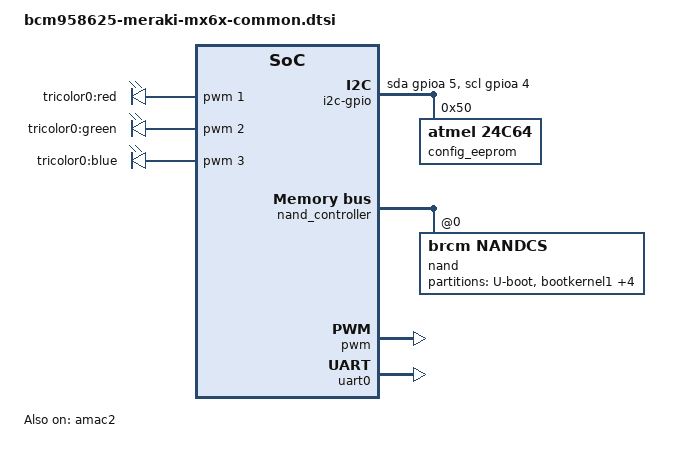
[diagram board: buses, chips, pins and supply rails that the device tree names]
// SPDX-License-Identifier: GPL-2.0-or-later OR MIT
/*
 * Common Bindings for Cisco Meraki MX64 (Kingpin) and MX65 (Alamo) devices.
 *
 * Copyright (C) 2020-2021 Matthew Hagan <mnhagan88@gmail.com>
 */

#include "bcm-nsp.dtsi"
#include <dt-bindings/gpio/gpio.h>
#include <dt-bindings/input/input.h>
#include <dt-bindings/leds/common.h>

/ {
	
	aliases {
        serial0 = &uart0;
    };

    chosen {
        stdout-path = "serial0:115200n8";
    };

	pwm-leds {
        compatible = "pwm-leds";
        red {
            label = "tricolor0:red";
            pwms = <&pwm 1 50000>;
            default-state = "off";
        };
        green {
            label = "tricolor0:green";
            pwms = <&pwm 2 50000>;
            default-state = "off";
        };
        blue {
            label = "tricolor0:blue";
            pwms = <&pwm 3 50000>;
            default-state = "off";
        };
	};

    i2c-gpio {
        #address-cells = <1>;
        #size-cells = <0>;
        compatible = "i2c-gpio";
        gpios = <&gpioa 5 0 /* sda  */
                 &gpioa 4 0>; /* scl  */
        i2c-gpio,delay-us = <10>;   /* ~100 kHz  */

        config_eeprom: at24@50 {
            compatible = "atmel,24c64";
            pagesize = <32>;
            reg = <0x50>;
        };

    };

    board-data {
        compatible = "meraki,meraki-config";
        i2c-eeprom = <&config_eeprom>;
    };
};

	&amac2 {
		status = "okay";
		mac-address = [ 00 18 0A 00 01 02 ];
	};


    &nand_controller {
	    nand@0 {
		    compatible = "brcm,nandcs";
		    reg = <0>;
		    nand-on-flash-bbt;

		    #address-cells = <1>;
		    #size-cells = <1>;

		    nand-ecc-strength = <24>;
		    nand-ecc-step-size = <1024>;

		    brcm,nand-oob-sector-size = <27>;

            partitions {
                compatible = "fixed-partitions";
                #address-cells = <1>;
                #size-cells = <1>;

                partition@0 {
                    label = "U-boot";
                   reg = <0x0 0x200000>;
                };

                partition@1 {
                    label = "bootkernel1";
                    reg = <0x100000 0x300000>;
                };

                partition@2 {
                    label = "senao_nvram";
                    reg = <0x400000 0x100000>;
                };

                partition@3 {
                    label = "bootkernel2";
                    reg = <0x500000 0x300000>;
                };

                partition@4 {
                    label = "ubi";
                    reg = <0x800000 0x3f700000>;
                };

                partition@5 {
                   label = "all";
                    reg = <0x0 0x3ff00000>;
                };
            };

	    };
    };


    &pinctrl {
    	pinctrl-names = "default";
    	pinctrl-0 = <&pwm_leds>;

	    pwm_leds: pwm_leds {
	    	function = "pwm";
	    	groups = "pwm1_grp", "pwm2_grp", "pwm3_grp";
	    };
    };

	&pwm {
        status = "okay";
        #pwm-cells = <2>;
        chan0 {
            channel = <1>;
            active_low = <1>;
        };
        chan1 {
            channel = <2>;
            active_low = <1>;
        };
        chan2 {
            channel = <3>;
            active_low = <1>;
        };
    };
    &uart0 {
    	clock-frequency = <62500000>;
    	status = "okay";
    };



